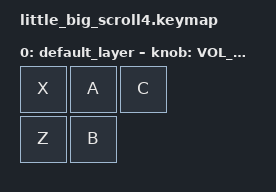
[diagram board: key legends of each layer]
/*
 * Copyright (c) 2020 The ZMK Contributors
 *
 * SPDX-License-Identifier: MIT
 */

#include <behaviors.dtsi>
#include <dt-bindings/zmk/keys.h>
#include <dt-bindings/zmk/bt.h>
#include <dt-bindings/zmk/outputs.h>
 
/ {
    keymap {
        compatible = "zmk,keymap";
 
        default_layer {
            bindings = <
                &kp X &kp A &kp C
                &kp Z &kp B
            >;

            sensor-bindings = <&inc_dec_kp C_VOL_DN C_VOL_UP>;

        };
    };
};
